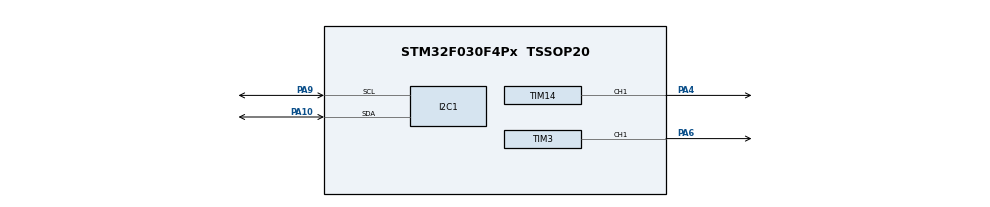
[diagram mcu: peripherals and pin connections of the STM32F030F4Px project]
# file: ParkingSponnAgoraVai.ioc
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Mcu.Family=STM32F0
Mcu.Name=STM32F030F4Px
Mcu.Package=TSSOP20
NVIC.TIM14_IRQn=true\:0\:0\:false\:false\:true\:true
NVIC.TIM3_IRQn=true\:0\:0\:false\:false\:true\:true
PA10.Mode=I2C
PA10.Signal=I2C1_SDA
PA13.Mode=Serial_Wire
PA13.Signal=SYS_SWDIO
PA14.Mode=Serial_Wire
PA14.Signal=SYS_SWCLK
PA4.Signal=S_TIM14_CH1
PA6.Signal=S_TIM3_CH1
PA9.Mode=I2C
PA9.Signal=I2C1_SCL
ProjectManager.HeapSize=0x200
ProjectManager.StackSize=0x400
ProjectManager.TargetToolchain=TrueSTUDIO
SH.S_TIM14_CH1.0=TIM14_CH1,PWM Generation1 CH1
SH.S_TIM3_CH1.0=TIM3_CH1,PWM Generation1 CH1
TIM14.Channel=TIM_CHANNEL_1
TIM14.Period=999
TIM14.Prescaler=159
TIM3.Channel-PWM\ Generation1\ CH1=TIM_CHANNEL_1
TIM3.Period=999
TIM3.Prescaler=159
VP_TIM14_VS_ClockSourceINT.Mode=Enable_Timer
VP_TIM3_VS_ClockSourceINT.Mode=Internal
board=custom

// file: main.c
/**
  ******************************************************************************
  * @file           : main.c
  * @brief          : Main program body
  ******************************************************************************
  ** This notice applies to any and all portions of this file
  * that are not between comment pairs USER CODE BEGIN and
  * USER CODE END. Other portions of this file, whether
  * inserted by the user or by software development tools
  * are owned by their respective copyright owners.
  *
  * COPYRIGHT(c) 2019 STMicroelectronics
  *
  * Redistribution and use in source and binary forms, with or without modification,
  * are permitted provided that the following conditions are met:
  *   1. Redistributions of source code must retain the above copyright notice,
  *      this list of conditions and the following disclaimer.
  *   2. Redistributions in binary form must reproduce the above copyright notice,
  *      this list of conditions and the following disclaimer in the documentation
  *      and/or other materials provided with the distribution.
  *   3. Neither the name of STMicroelectronics nor the names of its contributors
  *      may be used to endorse or promote products derived from this software
  *      without specific prior written permission.
  *
  * THIS SOFTWARE IS PROVIDED BY THE COPYRIGHT HOLDERS AND CONTRIBUTORS "AS IS"
  * AND ANY EXPRESS OR IMPLIED WARRANTIES, INCLUDING, BUT NOT LIMITED TO, THE
  * IMPLIED WARRANTIES OF MERCHANTABILITY AND FITNESS FOR A PARTICULAR PURPOSE ARE
  * DISCLAIMED. IN NO EVENT SHALL THE COPYRIGHT HOLDER OR CONTRIBUTORS BE LIABLE
  * FOR ANY DIRECT, INDIRECT, INCIDENTAL, SPECIAL, EXEMPLARY, OR CONSEQUENTIAL
  * DAMAGES (INCLUDING, BUT NOT LIMITED TO, PROCUREMENT OF SUBSTITUTE GOODS OR
  * SERVICES; LOSS OF USE, DATA, OR PROFITS; OR BUSINESS INTERRUPTION) HOWEVER
  * CAUSED AND ON ANY THEORY OF LIABILITY, WHETHER IN CONTRACT, STRICT LIABILITY,
  * OR TORT (INCLUDING NEGLIGENCE OR OTHERWISE) ARISING IN ANY WAY OUT OF THE USE
  * OF THIS SOFTWARE, EVEN IF ADVISED OF THE POSSIBILITY OF SUCH DAMAGE.
  *
  ******************************************************************************
  */
#include "main.h"
#include "stm32f0xx_hal.h"

/* USER CODE BEGIN Includes */
#include "i2c-lcd.h"
/* USER CODE END Includes */

I2C_HandleTypeDef hi2c1;

TIM_HandleTypeDef htim3;
TIM_HandleTypeDef htim14;

/* USER CODE BEGIN PV */
/* Private variables ---------------------------------------------------------*/

/* USER CODE END PV */

void SystemClock_Config(void);
static void MX_GPIO_Init(void);
static void MX_I2C1_Init(void);
static void MX_TIM3_Init(void);
static void MX_TIM14_Init(void);

void HAL_TIM_MspPostInit(TIM_HandleTypeDef *htim);

/* USER CODE BEGIN PFP */
/* Private function prototypes -----------------------------------------------*/

/* USER CODE END PFP */

/* USER CODE BEGIN 0 */
#define MPU6050_ADDR 0xD0

#define SMPLRT_DIV_REG 0x19
#define GYRO_CONFIG_REG 0x1B
#define ACCEL_CONFIG_REG 0x1C
#define ACCEL_XOUT_H_REG 0x3B
#define TEMP_OUT_H_REG 0x41
#define GYRO_XOUT_H_REG 0x43
#define PWR_MGMT_1_REG 0x6B
#define WHO_AM_I_REG 0x75

int16_t Accel_X_RAW = 0;
int16_t Accel_Y_RAW = 0;
int16_t Accel_Z_RAW = 0;

int16_t Gyro_X_RAW = 0;
int16_t Gyro_Y_RAW = 0;
int16_t Gyro_Z_RAW = 0;

float Ax, Ay, Az, Gx, Gy, Gz;

void MPU6050_Init (void) {
  uint8_t check;
  uint8_t Data;

  // check device ID WHO_AM_I

  HAL_I2C_Mem_Read (&hi2c1, MPU6050_ADDR,WHO_AM_I_REG,1, &check, 1, 1000);

  if (check == 104)  // 0x68 will be returned by the sensor if everything goes well
  {
    // power management register 0X6B we should write all 0's to wake the sensor up
    Data = 0;
    HAL_I2C_Mem_Write(&hi2c1, MPU6050_ADDR, PWR_MGMT_1_REG, 1,&Data, 1, 1000);

    // Set DATA RATE of 1KHz by writing SMPLRT_DIV register
    Data = 0x07;
    HAL_I2C_Mem_Write(&hi2c1, MPU6050_ADDR, SMPLRT_DIV_REG, 1, &Data, 1, 1000);

    // Set accelerometer configuration in ACCEL_CONFIG Register
    // XA_ST=0,YA_ST=0,ZA_ST=0, FS_SEL=0 -> � 2g
    Data = 0x00;
    HAL_I2C_Mem_Write(&hi2c1, MPU6050_ADDR, ACCEL_CONFIG_REG, 1, &Data, 1, 1000);

    // Set Gyroscopic configuration in GYRO_CONFIG Register
    // XG_ST=0,YG_ST=0,ZG_ST=0, FS_SEL=0 -> � 250 �/s
    Data = 0x00;
    HAL_I2C_Mem_Write(&hi2c1, MPU6050_ADDR, GYRO_CONFIG_REG, 1, &Data, 1, 1000);
  }

}

void MPU6050_Read_Accel (void)
{
  uint8_t Rec_Data[6];
  // Read 6 BYTES of data starting from ACCEL_XOUT_H register

  HAL_I2C_Mem_Read (&hi2c1, MPU6050_ADDR, ACCEL_XOUT_H_REG, 1, Rec_Data, 6, 1000);

  Accel_X_RAW = (int16_t)(Rec_Data[0] << 8 | Rec_Data [1]);
  Accel_Y_RAW = (int16_t)(Rec_Data[2] << 8 | Rec_Data [3]);
  Accel_Z_RAW = (int16_t)(Rec_Data[4] << 8 | Rec_Data [5]);

  /*** convert the RAW values into acceleration in 'g'
       we have to divide according to the Full scale value set in FS_SEL
       I have configured FS_SEL = 0. So I am dividing by 16384.0
       for more details check ACCEL_CONFIG Register              ****/

  Ax = (Accel_X_RAW/16384.0)*10;
  Ay = (Accel_Y_RAW/16384.0)*10;
  Az = (Accel_Z_RAW/16384.0)*10;
}

void MPU6050_Read_Gyro (void)
{
  uint8_t Rec_Data[6];
  // Read 6 BYTES of data starting from GYRO_XOUT_H register

  HAL_I2C_Mem_Read (&hi2c1, MPU6050_ADDR, GYRO_XOUT_H_REG, 1, Rec_Data, 6, 1000);

  Gyro_X_RAW = (int16_t)(Rec_Data[0] << 8 | Rec_Data [1]);
  Gyro_Y_RAW = (int16_t)(Rec_Data[2] << 8 | Rec_Data [3]);
  Gyro_Z_RAW = (int16_t)(Rec_Data[4] << 8 | Rec_Data [5]);

  /*** convert the RAW values into dps (�/s)
       we have to divide according to the Full scale value set in FS_SEL
       I have configured FS_SEL = 0. So I am dividing by 131.0
       for more details check GYRO_CONFIG Register              ****/

  Gx = Gyro_X_RAW/131.0;
  Gy = Gyro_Y_RAW/131.0;
  Gz = Gyro_Z_RAW/131.0;
}
/* USER CODE END 0 */

int main(void)
{

  /* MCU Configuration----------------------------------------------------------*/

  /* Reset of all peripherals, Initializes the Flash interface and the Systick. */
  HAL_Init();

  /* Configure the system clock */
  SystemClock_Config();

  /* Initialize all configured peripherals */
  MX_GPIO_Init();
  MX_I2C1_Init();
  MX_TIM3_Init();
  MX_TIM14_Init();
  /* USER CODE BEGIN 2 */
  HAL_TIM_PWM_Start(&htim3, TIM_CHANNEL_1);
  HAL_TIM_PWM_Start(&htim14, TIM_CHANNEL_1);
  /* USER CODE END 2 */
  MPU6050_Init();
  /* Infinite loop */
  while (1)
  {

  /* USER CODE BEGIN 3 */
	  MPU6050_Read_Accel();
	  MPU6050_Read_Gyro();
	  //HAL_Delay(100);

	  int z = (int)Az;
	  int y = (int)Ay;

	  if(Ax>0 && Ay < 1 && Ay > -1){
	  	  	htim3.Instance->CCR1 = (1008-47*z)/9;
	  	  	HAL_Delay(150);
	  }
	  else if(Ax<0 && Ay < 1 && Ay > -1) {
	  	  	htim3.Instance->CCR1 = (252+37*z)/9;
	  	  	HAL_Delay(150);
	  }

	  if(Ay>0 && Ax < 1 && Ax > -1) {
	  	  	htim14.Instance->CCR1 = (50*y)/9 + 70;
	  	  	HAL_Delay(150);
	  }
	  else if(Ay<0 && Ax < 1 && Ax > -1) {
	  	  	htim14.Instance->CCR1 = 5*y + 70;
	  	  	HAL_Delay(150);
	  }

  }
  /* USER CODE END 3 */

}

void SystemClock_Config(void)
{

  RCC_OscInitTypeDef RCC_OscInitStruct;
  RCC_ClkInitTypeDef RCC_ClkInitStruct;
  RCC_PeriphCLKInitTypeDef PeriphClkInit;

    /**Initializes the CPU, AHB and APB busses clocks
    */
  RCC_OscInitStruct.OscillatorType = RCC_OSCILLATORTYPE_HSI;
  RCC_OscInitStruct.HSIState = RCC_HSI_ON;
  RCC_OscInitStruct.HSICalibrationValue = 16;
  RCC_OscInitStruct.PLL.PLLState = RCC_PLL_NONE;
  if (HAL_RCC_OscConfig(&RCC_OscInitStruct) != HAL_OK)
  {
    _Error_Handler(__FILE__, __LINE__);
  }

    /**Initializes the CPU, AHB and APB busses clocks
    */
  RCC_ClkInitStruct.ClockType = RCC_CLOCKTYPE_HCLK|RCC_CLOCKTYPE_SYSCLK
                              |RCC_CLOCKTYPE_PCLK1;
  RCC_ClkInitStruct.SYSCLKSource = RCC_SYSCLKSOURCE_HSI;
  RCC_ClkInitStruct.AHBCLKDivider = RCC_SYSCLK_DIV1;
  RCC_ClkInitStruct.APB1CLKDivider = RCC_HCLK_DIV1;

  if (HAL_RCC_ClockConfig(&RCC_ClkInitStruct, FLASH_LATENCY_0) != HAL_OK)
  {
    _Error_Handler(__FILE__, __LINE__);
  }

  PeriphClkInit.PeriphClockSelection = RCC_PERIPHCLK_I2C1;
  PeriphClkInit.I2c1ClockSelection = RCC_I2C1CLKSOURCE_HSI;
  if (HAL_RCCEx_PeriphCLKConfig(&PeriphClkInit) != HAL_OK)
  {
    _Error_Handler(__FILE__, __LINE__);
  }

    /**Configure the Systick interrupt time
    */
  HAL_SYSTICK_Config(HAL_RCC_GetHCLKFreq()/1000);

    /**Configure the Systick
    */
  HAL_SYSTICK_CLKSourceConfig(SYSTICK_CLKSOURCE_HCLK);

  /* SysTick_IRQn interrupt configuration */
  HAL_NVIC_SetPriority(SysTick_IRQn, 0, 0);
}

/* I2C1 init function */
static void MX_I2C1_Init(void)
{

  hi2c1.Instance = I2C1;
  hi2c1.Init.Timing = 0x2000090E;
  hi2c1.Init.OwnAddress1 = 0;
  hi2c1.Init.AddressingMode = I2C_ADDRESSINGMODE_7BIT;
  hi2c1.Init.DualAddressMode = I2C_DUALADDRESS_DISABLE;
  hi2c1.Init.OwnAddress2 = 0;
  hi2c1.Init.OwnAddress2Masks = I2C_OA2_NOMASK;
  hi2c1.Init.GeneralCallMode = I2C_GENERALCALL_DISABLE;
  hi2c1.Init.NoStretchMode = I2C_NOSTRETCH_DISABLE;
  if (HAL_I2C_Init(&hi2c1) != HAL_OK)
  {
    _Error_Handler(__FILE__, __LINE__);
  }

    /**Configure Analogue filter
    */
  if (HAL_I2CEx_ConfigAnalogFilter(&hi2c1, I2C_ANALOGFILTER_ENABLE) != HAL_OK)
  {
    _Error_Handler(__FILE__, __LINE__);
  }

    /**Configure Digital filter
    */
  if (HAL_I2CEx_ConfigDigitalFilter(&hi2c1, 0) != HAL_OK)
  {
    _Error_Handler(__FILE__, __LINE__);
  }

}

/* TIM3 init function */
static void MX_TIM3_Init(void)
{

  TIM_ClockConfigTypeDef sClockSourceConfig;
  TIM_MasterConfigTypeDef sMasterConfig;
  TIM_OC_InitTypeDef sConfigOC;

  htim3.Instance = TIM3;
  htim3.Init.Prescaler = 159;
  htim3.Init.CounterMode = TIM_COUNTERMODE_UP;
  htim3.Init.Period = 999;
  htim3.Init.ClockDivision = TIM_CLOCKDIVISION_DIV1;
  htim3.Init.AutoReloadPreload = TIM_AUTORELOAD_PRELOAD_DISABLE;
  if (HAL_TIM_Base_Init(&htim3) != HAL_OK)
  {
    _Error_Handler(__FILE__, __LINE__);
  }

  sClockSourceConfig.ClockSource = TIM_CLOCKSOURCE_INTERNAL;
  if (HAL_TIM_ConfigClockSource(&htim3, &sClockSourceConfig) != HAL_OK)
  {
    _Error_Handler(__FILE__, __LINE__);
  }

  if (HAL_TIM_PWM_Init(&htim3) != HAL_OK)
  {
    _Error_Handler(__FILE__, __LINE__);
  }

  sMasterConfig.MasterOutputTrigger = TIM_TRGO_RESET;
  sMasterConfig.MasterSlaveMode = TIM_MASTERSLAVEMODE_DISABLE;
  if (HAL_TIMEx_MasterConfigSynchronization(&htim3, &sMasterConfig) != HAL_OK)
  {
    _Error_Handler(__FILE__, __LINE__);
  }

  sConfigOC.OCMode = TIM_OCMODE_PWM1;
  sConfigOC.Pulse = 0;
  sConfigOC.OCPolarity = TIM_OCPOLARITY_HIGH;
  sConfigOC.OCFastMode = TIM_OCFAST_DISABLE;
  if (HAL_TIM_PWM_ConfigChannel(&htim3, &sConfigOC, TIM_CHANNEL_1) != HAL_OK)
  {
    _Error_Handler(__FILE__, __LINE__);
  }

  HAL_TIM_MspPostInit(&htim3);

}

/* TIM14 init function */
static void MX_TIM14_Init(void)
{

  TIM_OC_InitTypeDef sConfigOC;

  htim14.Instance = TIM14;
  htim14.Init.Prescaler = 159;
  htim14.Init.CounterMode = TIM_COUNTERMODE_UP;
  htim14.Init.Period = 999;
  htim14.Init.ClockDivision = TIM_CLOCKDIVISION_DIV1;
  htim14.Init.AutoReloadPreload = TIM_AUTORELOAD_PRELOAD_DISABLE;
  if (HAL_TIM_Base_Init(&htim14) != HAL_OK)
  {
    _Error_Handler(__FILE__, __LINE__);
  }

  if (HAL_TIM_PWM_Init(&htim14) != HAL_OK)
  {
    _Error_Handler(__FILE__, __LINE__);
  }

  sConfigOC.OCMode = TIM_OCMODE_PWM1;
  sConfigOC.Pulse = 0;
  sConfigOC.OCPolarity = TIM_OCPOLARITY_HIGH;
  sConfigOC.OCFastMode = TIM_OCFAST_DISABLE;
  if (HAL_TIM_PWM_ConfigChannel(&htim14, &sConfigOC, TIM_CHANNEL_1) != HAL_OK)
  {
    _Error_Handler(__FILE__, __LINE__);
  }

  HAL_TIM_MspPostInit(&htim14);

}

/** Configure pins as
        * Analog
        * Input
        * Output
        * EVENT_OUT
        * EXTI
*/
static void MX_GPIO_Init(void)
{

  /* GPIO Ports Clock Enable */
  __HAL_RCC_GPIOA_CLK_ENABLE();

}

void _Error_Handler(char *file, int line)
{
  while(1)
  {
  }
}

/************************ (C) COPYRIGHT STMicroelectronics *****END OF FILE****/
